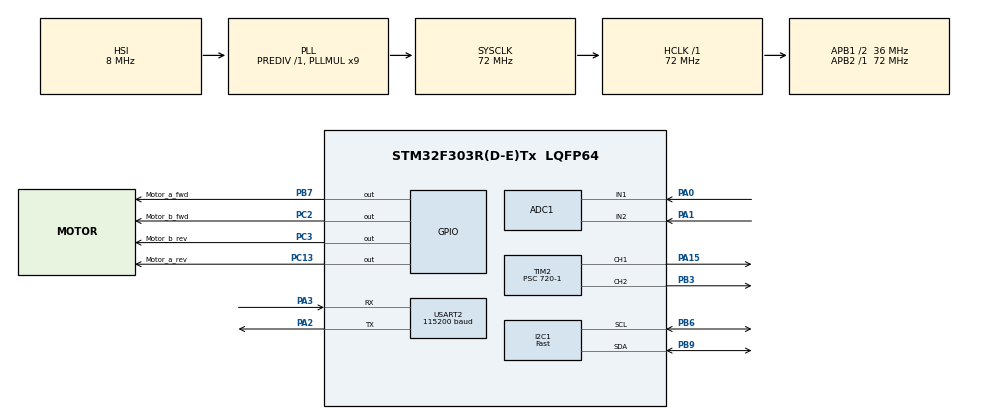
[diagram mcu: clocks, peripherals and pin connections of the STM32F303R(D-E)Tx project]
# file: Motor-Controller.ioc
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ADC1.Channel-0\#ChannelRegularConversion=ADC_CHANNEL_1
ADC1.Channel-1\#ChannelRegularConversion=ADC_CHANNEL_2
ADC1.ClockPrescaler=ADC_CLOCK_ASYNC_DIV1
ADC1.DMAContinuousRequests=ENABLE
ADC1.ExternalTrigConv=ADC_EXTERNALTRIGCONV_T1_TRGO
ADC1.NbrOfConversion=2
ADC1.NbrOfConversionFlag=1
ADC1.Offset-0\#ChannelRegularConversion=0
ADC1.Offset-1\#ChannelRegularConversion=0
ADC1.OffsetNumber-0\#ChannelRegularConversion=ADC_OFFSET_NONE
ADC1.OffsetNumber-1\#ChannelRegularConversion=ADC_OFFSET_NONE
ADC1.Rank-0\#ChannelRegularConversion=1
ADC1.Rank-1\#ChannelRegularConversion=2
ADC1.SamplingTime-0\#ChannelRegularConversion=ADC_SAMPLETIME_1CYCLE_5
ADC1.SamplingTime-1\#ChannelRegularConversion=ADC_SAMPLETIME_1CYCLE_5
ADC1.master=1
Dma.ADC1.0.Direction=DMA_PERIPH_TO_MEMORY
Dma.ADC1.0.Instance=DMA1_Channel1
Dma.ADC1.0.MemDataAlignment=DMA_MDATAALIGN_WORD
Dma.ADC1.0.MemInc=DMA_MINC_ENABLE
Dma.ADC1.0.Mode=DMA_CIRCULAR
Dma.ADC1.0.PeriphDataAlignment=DMA_PDATAALIGN_WORD
Dma.ADC1.0.PeriphInc=DMA_PINC_DISABLE
Dma.ADC1.0.Priority=DMA_PRIORITY_LOW
Dma.Request0=ADC1
I2C1.I2C_Speed_Mode=I2C_Fast
I2C1.Timing=0x0000020B
Mcu.Family=STM32F3
Mcu.Name=STM32F303R(D-E)Tx
Mcu.Package=LQFP64
NVIC.DMA1_Channel1_IRQn=true\:0\:0\:false\:false\:true\:false\:true\:true
NVIC.I2C1_EV_IRQn=true\:0\:0\:false\:false\:true\:true\:true\:true
NVIC.PriorityGroup=NVIC_PRIORITYGROUP_4
NVIC.TIM1_TRG_COM_TIM17_IRQn=true\:0\:0\:false\:false\:true\:true\:true\:true
NVIC.TIM3_IRQn=true\:0\:0\:false\:false\:true\:true\:true\:true
NVIC.USART2_IRQn=true\:0\:0\:false\:false\:true\:true\:true\:true
PA0.Mode=IN1-Single-Ended
PA0.Signal=ADC1_IN1
PA1.Mode=IN2-Single-Ended
PA1.Signal=ADC1_IN2
PA13.Mode=Serial_Wire
PA13.Signal=SYS_JTMS-SWDIO
PA14.Mode=Serial_Wire
PA14.Signal=SYS_JTCK-SWCLK
PA15.Signal=S_TIM2_CH1_ETR
PA2.Mode=Asynchronous
PA2.Signal=USART2_TX
PA3.Mode=Asynchronous
PA3.Signal=USART2_RX
PB3.Signal=S_TIM2_CH2
PB6.GPIO_FM6=SYSCFG_CFGR1_I2C_PB6_FMP
PB6.Mode=I2C
PB6.Signal=I2C1_SCL
PB7.GPIO_Label=Motor_a_fwd
PB7.Signal=GPIO_Output
PB9.GPIO_FM9=SYSCFG_CFGR1_I2C_PB9_FMP
PB9.Mode=I2C
PB9.Signal=I2C1_SDA
PC13.GPIO_Label=Motor_a_rev
PC13.Signal=GPIO_Output
PC2.GPIO_Label=Motor_b_fwd
PC2.Signal=GPIO_Output
PC3.GPIO_Label=Motor_b_rev
PC3.Signal=GPIO_Output
ProjectManager.HeapSize=0x200
ProjectManager.StackSize=0x400
ProjectManager.TargetToolchain=STM32CubeIDE
RCC.AHBFreq_Value=72000000
RCC.APB1CLKDivider=RCC_HCLK_DIV2
RCC.APB1Freq_Value=36000000
RCC.APB1TimFreq_Value=72000000
RCC.APB2Freq_Value=72000000
RCC.APB2TimFreq_Value=72000000
RCC.CortexFreq_Value=72000000
RCC.HCLKFreq_Value=72000000
RCC.HSE_VALUE=8000000
RCC.HSI_VALUE=8000000
RCC.LSE_VALUE=32768
RCC.PLLMUL=RCC_PLL_MUL9
RCC.SYSCLKFreq_VALUE=72000000
RCC.SYSCLKSourceVirtual=RCC_SYSCLKSOURCE_PLLCLK
RCC.USBFreq_Value=72000000
SH.S_TIM2_CH1_ETR.0=TIM2_CH1,PWM Generation1 CH1
SH.S_TIM2_CH2.0=TIM2_CH2,PWM Generation2 CH2
TIM1.Period=100-1
TIM1.Prescaler=72-1
TIM1.TIM_MasterOutputTrigger=TIM_TRGO_UPDATE
TIM2.Channel-PWM\ Generation1\ CH1=TIM_CHANNEL_1
TIM2.Channel-PWM\ Generation2\ CH2=TIM_CHANNEL_2
TIM2.Period=1000-1
TIM2.Prescaler=720-1
TIM3.Period=5000-1
TIM3.Prescaler=720-1
USART2.BaudRate=115200
USART2.Parity=PARITY_EVEN
USART2.VirtualMode-Asynchronous=VM_ASYNC
USART2.WordLength=WORDLENGTH_9B
VP_TIM1_VS_ClockSourceINT.Mode=Internal
VP_TIM2_VS_ClockSourceINT.Mode=Internal
VP_TIM3_VS_ClockSourceINT.Mode=Internal
board=custom

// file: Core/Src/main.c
/* USER CODE BEGIN Header */
/**
 ******************************************************************************
 * @file           : main.c
 * @brief          : Main program body
 ******************************************************************************
 * @attention
 *
 * Copyright (c) 2023 STMicroelectronics.
 * All rights reserved.
 *
 * This software is licensed under terms that can be found in the LICENSE file
 * in the root directory of this software component.
 * If no LICENSE file comes with this software, it is provided AS-IS.
 *
 ******************************************************************************
 */
/* USER CODE END Header */
#include "main.h"

/* USER CODE BEGIN Includes */
#include <stdio.h>
#include <stdlib.h>
#include <string.h>
#include "INA219.h"
/* USER CODE END Includes */

/* USER CODE BEGIN PD */
#define THRESHOLD_OFF 0.2
#define THRESHOLD_FULL 0.90
#define SLIDERS 0
#define UART 1
#define INA_ADR1 0x40
/* USER CODE END PD */

ADC_HandleTypeDef hadc1;
DMA_HandleTypeDef hdma_adc1;

I2C_HandleTypeDef hi2c1;

TIM_HandleTypeDef htim1;
TIM_HandleTypeDef htim2;
TIM_HandleTypeDef htim3;

UART_HandleTypeDef huart2;

/* USER CODE BEGIN PV */
uint8_t UART_RX_Pos = 0;
uint8_t UART_RX_Message[100];
uint8_t UART_RX_Byte[1];
uint8_t UART_RX_Flag = 0;
int UART_RX_Motor_a;
int UART_RX_Motor_b;
volatile uint8_t TIM3_flag = 0;
uint32_t UART_Counter=0;

INA219_t ina219;

int16_t vbus, vshunt, current;
double currentmA;
/* USER CODE END PV */

void SystemClock_Config(void);
static void MX_GPIO_Init(void);
static void MX_DMA_Init(void);
static void MX_ADC1_Init(void);
static void MX_TIM1_Init(void);
static void MX_TIM2_Init(void);
static void MX_USART2_UART_Init(void);
static void MX_TIM3_Init(void);
static void MX_I2C1_Init(void);
/* USER CODE BEGIN PFP */
double clamp(double d, double min, double max);
void num2str(int num, uint8_t *string, int numdigits);
int str2num(uint8_t *string, int numdigits);
void HAL_UART_RxCpltCallback(UART_HandleTypeDef *huart);
void UART_RX_Handler(void);
/* USER CODE END PFP */

int main(void)
{

  /* MCU Configuration--------------------------------------------------------*/

  /* Reset of all peripherals, Initializes the Flash interface and the Systick. */
  HAL_Init();

  /* Configure the system clock */
  SystemClock_Config();

  /* Initialize all configured peripherals */
  MX_GPIO_Init();
  MX_DMA_Init();
  MX_ADC1_Init();
  MX_TIM1_Init();
  MX_TIM2_Init();
  MX_USART2_UART_Init();
  MX_TIM3_Init();
  MX_I2C1_Init();
  /* USER CODE BEGIN 2 */
	uint32_t ADC_Value[2];
	uint8_t txbuffer[200];

	uint8_t input = SLIDERS;
	HAL_UART_Receive_IT(&huart2, UART_RX_Byte, 1);
	HAL_TIM_Base_Start_IT(&htim1);
	HAL_TIM_Base_Start_IT(&htim3);
	HAL_ADC_Start_DMA(&hadc1, ADC_Value, 2); // start adc in DMA mode
	HAL_TIM_PWM_Start(&htim2, TIM_CHANNEL_1);
	HAL_TIM_PWM_Start(&htim2, TIM_CHANNEL_2);

	for (int i = 0; i < 100; i++) {
		txbuffer[i] = (uint8_t) *" ";
	}

	while (!INA219_Init(&ina219, &hi2c1, INA219_ADDRESS)) {

	}

	//INA219_setPowerMode(&ina219, INA219_CONFIG_MODE_ADCOFF);

	vbus = INA219_ReadBusVoltage(&ina219);
	vshunt = INA219_ReadShuntVolage(&ina219);
	current = INA219_ReadCurrent(&ina219);
  /* USER CODE END 2 */

  /* Infinite loop */
  /* USER CODE BEGIN WHILE */
	while (1) {
		double slider1 = (ADC_Value[0] / 2047.0) - 1.0;
		double slider2 = (ADC_Value[1] / 2047.0) - 1.0;

		if (input == SLIDERS) {
			if (slider1 > THRESHOLD_OFF) {
				HAL_GPIO_WritePin(Motor_a_fwd_GPIO_Port, Motor_a_fwd_Pin, 1);
				HAL_GPIO_WritePin(Motor_a_rev_GPIO_Port, Motor_a_rev_Pin, 0);
				TIM2->CCR1 = ((slider1 - THRESHOLD_OFF)
						/ (THRESHOLD_FULL - THRESHOLD_OFF)) * 999.0;
			} else if (slider1 < -THRESHOLD_OFF) {
				HAL_GPIO_WritePin(Motor_a_fwd_GPIO_Port, Motor_a_fwd_Pin, 0);
				HAL_GPIO_WritePin(Motor_a_rev_GPIO_Port, Motor_a_rev_Pin, 1);
				TIM2->CCR1 = ((-slider1 - THRESHOLD_OFF)
						/ (THRESHOLD_FULL - THRESHOLD_OFF)) * 999.0;
			} else {
				HAL_GPIO_WritePin(Motor_a_fwd_GPIO_Port, Motor_a_fwd_Pin, 0);
				HAL_GPIO_WritePin(Motor_a_rev_GPIO_Port, Motor_a_rev_Pin, 0);
				TIM2->CCR1 = 0;
			}

			if (slider2 > THRESHOLD_OFF) {
				HAL_GPIO_WritePin(Motor_b_fwd_GPIO_Port, Motor_b_fwd_Pin, 1);
				HAL_GPIO_WritePin(Motor_b_rev_GPIO_Port, Motor_b_rev_Pin, 0);
				TIM2->CCR2 = ((slider2 - THRESHOLD_OFF)
						/ (THRESHOLD_FULL - THRESHOLD_OFF)) * 999.0;
			} else if (slider2 < -THRESHOLD_OFF) {
				HAL_GPIO_WritePin(Motor_b_fwd_GPIO_Port, Motor_b_fwd_Pin, 0);
				HAL_GPIO_WritePin(Motor_b_rev_GPIO_Port, Motor_b_rev_Pin, 1);
				TIM2->CCR2 = ((-slider2 - THRESHOLD_OFF)
						/ (THRESHOLD_FULL - THRESHOLD_OFF)) * 999.0;
			} else {
				HAL_GPIO_WritePin(Motor_b_fwd_GPIO_Port, Motor_b_fwd_Pin, 0);
				HAL_GPIO_WritePin(Motor_b_rev_GPIO_Port, Motor_b_rev_Pin, 0);
				TIM2->CCR2 = 0;
			}
		} else if (input == UART) {

			if (UART_RX_Motor_a > 0) {
				HAL_GPIO_WritePin(Motor_a_fwd_GPIO_Port, Motor_a_fwd_Pin, 1);
				HAL_GPIO_WritePin(Motor_a_rev_GPIO_Port, Motor_a_rev_Pin, 0);
				TIM2->CCR1 = UART_RX_Motor_a;
			} else if (UART_RX_Motor_a < 0) {
				HAL_GPIO_WritePin(Motor_a_fwd_GPIO_Port, Motor_a_fwd_Pin, 0);
				HAL_GPIO_WritePin(Motor_a_rev_GPIO_Port, Motor_a_rev_Pin, 1);
				TIM2->CCR1 = -UART_RX_Motor_a;
			} else {
				HAL_GPIO_WritePin(Motor_a_fwd_GPIO_Port, Motor_a_fwd_Pin, 0);
				HAL_GPIO_WritePin(Motor_a_rev_GPIO_Port, Motor_a_rev_Pin, 0);
				TIM2->CCR1 = 0;
			}

			if (UART_RX_Motor_b > 0) {
				HAL_GPIO_WritePin(Motor_b_fwd_GPIO_Port, Motor_b_fwd_Pin, 1);
				HAL_GPIO_WritePin(Motor_b_rev_GPIO_Port, Motor_b_rev_Pin, 0);
				TIM2->CCR2 = UART_RX_Motor_b;
			} else if (UART_RX_Motor_b < 0) {
				HAL_GPIO_WritePin(Motor_b_fwd_GPIO_Port, Motor_b_fwd_Pin, 0);
				HAL_GPIO_WritePin(Motor_b_rev_GPIO_Port, Motor_b_rev_Pin, 1);
				TIM2->CCR2 = -UART_RX_Motor_b;
			} else {
				HAL_GPIO_WritePin(Motor_b_fwd_GPIO_Port, Motor_b_fwd_Pin, 0);
				HAL_GPIO_WritePin(Motor_b_rev_GPIO_Port, Motor_b_rev_Pin, 0);
				TIM2->CCR2 = 0;
			}
		}

		if (TIM3_flag == 1) {
			TIM3_flag = 0;
			vbus = INA219_ReadBusVoltage(&ina219);
			vshunt = INA219_ReadShuntVolage(&ina219);
			current = INA219_ReadCurrent(&ina219);
			UART_Counter +=1;
			sprintf((char*) txbuffer, "Duty Cycles: %04d, %04d\n"
					                  "Current:     %05.1f mA, %05.1f mA\n"
									  "Vbus:        %04d, %04d\n"
									  "Vshunt:      %04d, %04d\n", (int) TIM2->CCR1, (int) TIM2->CCR2, currentmA, currentmA, vbus, vbus, vshunt, vshunt);
//			sprintf((char*) txbuffer, "%d,%d\n", (int) UART_Counter, current);
			HAL_UART_Transmit(&huart2, txbuffer, strlen((char*) txbuffer), 50);
		}
		if (UART_RX_Flag == 1) {
			UART_RX_Handler();
		}
    /* USER CODE END WHILE */

	}
}

void SystemClock_Config(void)
{
  RCC_OscInitTypeDef RCC_OscInitStruct = {0};
  RCC_ClkInitTypeDef RCC_ClkInitStruct = {0};
  RCC_PeriphCLKInitTypeDef PeriphClkInit = {0};

  /** Initializes the RCC Oscillators according to the specified parameters
  * in the RCC_OscInitTypeDef structure.
  */
  RCC_OscInitStruct.OscillatorType = RCC_OSCILLATORTYPE_HSI;
  RCC_OscInitStruct.HSIState = RCC_HSI_ON;
  RCC_OscInitStruct.HSICalibrationValue = RCC_HSICALIBRATION_DEFAULT;
  RCC_OscInitStruct.PLL.PLLState = RCC_PLL_ON;
  RCC_OscInitStruct.PLL.PLLSource = RCC_PLLSOURCE_HSI;
  RCC_OscInitStruct.PLL.PLLMUL = RCC_PLL_MUL9;
  RCC_OscInitStruct.PLL.PREDIV = RCC_PREDIV_DIV1;
  if (HAL_RCC_OscConfig(&RCC_OscInitStruct) != HAL_OK)
  {
    Error_Handler();
  }

  /** Initializes the CPU, AHB and APB buses clocks
  */
  RCC_ClkInitStruct.ClockType = RCC_CLOCKTYPE_HCLK|RCC_CLOCKTYPE_SYSCLK
                              |RCC_CLOCKTYPE_PCLK1|RCC_CLOCKTYPE_PCLK2;
  RCC_ClkInitStruct.SYSCLKSource = RCC_SYSCLKSOURCE_PLLCLK;
  RCC_ClkInitStruct.AHBCLKDivider = RCC_SYSCLK_DIV1;
  RCC_ClkInitStruct.APB1CLKDivider = RCC_HCLK_DIV2;
  RCC_ClkInitStruct.APB2CLKDivider = RCC_HCLK_DIV1;

  if (HAL_RCC_ClockConfig(&RCC_ClkInitStruct, FLASH_LATENCY_2) != HAL_OK)
  {
    Error_Handler();
  }
  PeriphClkInit.PeriphClockSelection = RCC_PERIPHCLK_USART2|RCC_PERIPHCLK_I2C1
                              |RCC_PERIPHCLK_TIM1|RCC_PERIPHCLK_ADC12
                              |RCC_PERIPHCLK_TIM2|RCC_PERIPHCLK_TIM34;
  PeriphClkInit.Usart2ClockSelection = RCC_USART2CLKSOURCE_PCLK1;
  PeriphClkInit.Adc12ClockSelection = RCC_ADC12PLLCLK_DIV1;
  PeriphClkInit.I2c1ClockSelection = RCC_I2C1CLKSOURCE_HSI;
  PeriphClkInit.Tim1ClockSelection = RCC_TIM1CLK_HCLK;
  PeriphClkInit.Tim2ClockSelection = RCC_TIM2CLK_HCLK;
  PeriphClkInit.Tim34ClockSelection = RCC_TIM34CLK_HCLK;
  if (HAL_RCCEx_PeriphCLKConfig(&PeriphClkInit) != HAL_OK)
  {
    Error_Handler();
  }
}

static void MX_ADC1_Init(void)
{

  ADC_MultiModeTypeDef multimode = {0};
  ADC_ChannelConfTypeDef sConfig = {0};

  /** Common config
  */
  hadc1.Instance = ADC1;
  hadc1.Init.ClockPrescaler = ADC_CLOCK_ASYNC_DIV1;
  hadc1.Init.Resolution = ADC_RESOLUTION_12B;
  hadc1.Init.ScanConvMode = ADC_SCAN_ENABLE;
  hadc1.Init.ContinuousConvMode = DISABLE;
  hadc1.Init.DiscontinuousConvMode = DISABLE;
  hadc1.Init.ExternalTrigConvEdge = ADC_EXTERNALTRIGCONVEDGE_RISING;
  hadc1.Init.ExternalTrigConv = ADC_EXTERNALTRIGCONV_T1_TRGO;
  hadc1.Init.DataAlign = ADC_DATAALIGN_RIGHT;
  hadc1.Init.NbrOfConversion = 2;
  hadc1.Init.DMAContinuousRequests = ENABLE;
  hadc1.Init.EOCSelection = ADC_EOC_SINGLE_CONV;
  hadc1.Init.LowPowerAutoWait = DISABLE;
  hadc1.Init.Overrun = ADC_OVR_DATA_OVERWRITTEN;
  if (HAL_ADC_Init(&hadc1) != HAL_OK)
  {
    Error_Handler();
  }

  /** Configure the ADC multi-mode
  */
  multimode.Mode = ADC_MODE_INDEPENDENT;
  if (HAL_ADCEx_MultiModeConfigChannel(&hadc1, &multimode) != HAL_OK)
  {
    Error_Handler();
  }

  /** Configure Regular Channel
  */
  sConfig.Channel = ADC_CHANNEL_1;
  sConfig.Rank = ADC_REGULAR_RANK_1;
  sConfig.SingleDiff = ADC_SINGLE_ENDED;
  sConfig.SamplingTime = ADC_SAMPLETIME_1CYCLE_5;
  sConfig.OffsetNumber = ADC_OFFSET_NONE;
  sConfig.Offset = 0;
  if (HAL_ADC_ConfigChannel(&hadc1, &sConfig) != HAL_OK)
  {
    Error_Handler();
  }

  /** Configure Regular Channel
  */
  sConfig.Channel = ADC_CHANNEL_2;
  sConfig.Rank = ADC_REGULAR_RANK_2;
  if (HAL_ADC_ConfigChannel(&hadc1, &sConfig) != HAL_OK)
  {
    Error_Handler();
  }

}

static void MX_I2C1_Init(void)
{

  hi2c1.Instance = I2C1;
  hi2c1.Init.Timing = 0x0000020B;
  hi2c1.Init.OwnAddress1 = 0;
  hi2c1.Init.AddressingMode = I2C_ADDRESSINGMODE_7BIT;
  hi2c1.Init.DualAddressMode = I2C_DUALADDRESS_DISABLE;
  hi2c1.Init.OwnAddress2 = 0;
  hi2c1.Init.OwnAddress2Masks = I2C_OA2_NOMASK;
  hi2c1.Init.GeneralCallMode = I2C_GENERALCALL_DISABLE;
  hi2c1.Init.NoStretchMode = I2C_NOSTRETCH_DISABLE;
  if (HAL_I2C_Init(&hi2c1) != HAL_OK)
  {
    Error_Handler();
  }

  /** Configure Analogue filter
  */
  if (HAL_I2CEx_ConfigAnalogFilter(&hi2c1, I2C_ANALOGFILTER_ENABLE) != HAL_OK)
  {
    Error_Handler();
  }

  /** Configure Digital filter
  */
  if (HAL_I2CEx_ConfigDigitalFilter(&hi2c1, 0) != HAL_OK)
  {
    Error_Handler();
  }

}

static void MX_TIM1_Init(void)
{

  TIM_ClockConfigTypeDef sClockSourceConfig = {0};
  TIM_MasterConfigTypeDef sMasterConfig = {0};

  htim1.Instance = TIM1;
  htim1.Init.Prescaler = 72-1;
  htim1.Init.CounterMode = TIM_COUNTERMODE_UP;
  htim1.Init.Period = 100-1;
  htim1.Init.ClockDivision = TIM_CLOCKDIVISION_DIV1;
  htim1.Init.RepetitionCounter = 0;
  htim1.Init.AutoReloadPreload = TIM_AUTORELOAD_PRELOAD_DISABLE;
  if (HAL_TIM_Base_Init(&htim1) != HAL_OK)
  {
    Error_Handler();
  }
  sClockSourceConfig.ClockSource = TIM_CLOCKSOURCE_INTERNAL;
  if (HAL_TIM_ConfigClockSource(&htim1, &sClockSourceConfig) != HAL_OK)
  {
    Error_Handler();
  }
  sMasterConfig.MasterOutputTrigger = TIM_TRGO_UPDATE;
  sMasterConfig.MasterOutputTrigger2 = TIM_TRGO2_RESET;
  sMasterConfig.MasterSlaveMode = TIM_MASTERSLAVEMODE_DISABLE;
  if (HAL_TIMEx_MasterConfigSynchronization(&htim1, &sMasterConfig) != HAL_OK)
  {
    Error_Handler();
  }

}

static void MX_TIM2_Init(void)
{

  TIM_ClockConfigTypeDef sClockSourceConfig = {0};
  TIM_MasterConfigTypeDef sMasterConfig = {0};
  TIM_OC_InitTypeDef sConfigOC = {0};

  htim2.Instance = TIM2;
  htim2.Init.Prescaler = 720-1;
  htim2.Init.CounterMode = TIM_COUNTERMODE_UP;
  htim2.Init.Period = 1000-1;
  htim2.Init.ClockDivision = TIM_CLOCKDIVISION_DIV1;
  htim2.Init.AutoReloadPreload = TIM_AUTORELOAD_PRELOAD_DISABLE;
  if (HAL_TIM_Base_Init(&htim2) != HAL_OK)
  {
    Error_Handler();
  }
  sClockSourceConfig.ClockSource = TIM_CLOCKSOURCE_INTERNAL;
  if (HAL_TIM_ConfigClockSource(&htim2, &sClockSourceConfig) != HAL_OK)
  {
    Error_Handler();
  }
  if (HAL_TIM_PWM_Init(&htim2) != HAL_OK)
  {
    Error_Handler();
  }
  sMasterConfig.MasterOutputTrigger = TIM_TRGO_RESET;
  sMasterConfig.MasterSlaveMode = TIM_MASTERSLAVEMODE_DISABLE;
  if (HAL_TIMEx_MasterConfigSynchronization(&htim2, &sMasterConfig) != HAL_OK)
  {
    Error_Handler();
  }
  sConfigOC.OCMode = TIM_OCMODE_PWM1;
  sConfigOC.Pulse = 0;
  sConfigOC.OCPolarity = TIM_OCPOLARITY_HIGH;
  sConfigOC.OCFastMode = TIM_OCFAST_DISABLE;
  if (HAL_TIM_PWM_ConfigChannel(&htim2, &sConfigOC, TIM_CHANNEL_1) != HAL_OK)
  {
    Error_Handler();
  }
  if (HAL_TIM_PWM_ConfigChannel(&htim2, &sConfigOC, TIM_CHANNEL_2) != HAL_OK)
  {
    Error_Handler();
  }
  HAL_TIM_MspPostInit(&htim2);

}

static void MX_TIM3_Init(void)
{

  TIM_ClockConfigTypeDef sClockSourceConfig = {0};
  TIM_MasterConfigTypeDef sMasterConfig = {0};

  htim3.Instance = TIM3;
  htim3.Init.Prescaler = 720-1;
  htim3.Init.CounterMode = TIM_COUNTERMODE_UP;
  htim3.Init.Period = 5000-1;
  htim3.Init.ClockDivision = TIM_CLOCKDIVISION_DIV1;
  htim3.Init.AutoReloadPreload = TIM_AUTORELOAD_PRELOAD_DISABLE;
  if (HAL_TIM_Base_Init(&htim3) != HAL_OK)
  {
    Error_Handler();
  }
  sClockSourceConfig.ClockSource = TIM_CLOCKSOURCE_INTERNAL;
  if (HAL_TIM_ConfigClockSource(&htim3, &sClockSourceConfig) != HAL_OK)
  {
    Error_Handler();
  }
  sMasterConfig.MasterOutputTrigger = TIM_TRGO_RESET;
  sMasterConfig.MasterSlaveMode = TIM_MASTERSLAVEMODE_DISABLE;
  if (HAL_TIMEx_MasterConfigSynchronization(&htim3, &sMasterConfig) != HAL_OK)
  {
    Error_Handler();
  }

}

static void MX_USART2_UART_Init(void)
{

  huart2.Instance = USART2;
  huart2.Init.BaudRate = 115200;
  huart2.Init.WordLength = UART_WORDLENGTH_9B;
  huart2.Init.StopBits = UART_STOPBITS_1;
  huart2.Init.Parity = UART_PARITY_EVEN;
  huart2.Init.Mode = UART_MODE_TX_RX;
  huart2.Init.HwFlowCtl = UART_HWCONTROL_NONE;
  huart2.Init.OverSampling = UART_OVERSAMPLING_16;
  huart2.Init.OneBitSampling = UART_ONE_BIT_SAMPLE_DISABLE;
  huart2.AdvancedInit.AdvFeatureInit = UART_ADVFEATURE_NO_INIT;
  if (HAL_UART_Init(&huart2) != HAL_OK)
  {
    Error_Handler();
  }

}

static void MX_DMA_Init(void)
{

  /* DMA controller clock enable */
  __HAL_RCC_DMA1_CLK_ENABLE();

  /* DMA interrupt init */
  /* DMA1_Channel1_IRQn interrupt configuration */
  HAL_NVIC_SetPriority(DMA1_Channel1_IRQn, 0, 0);
  HAL_NVIC_EnableIRQ(DMA1_Channel1_IRQn);

}

static void MX_GPIO_Init(void)
{
  GPIO_InitTypeDef GPIO_InitStruct = {0};

  /* GPIO Ports Clock Enable */
  __HAL_RCC_GPIOC_CLK_ENABLE();
  __HAL_RCC_GPIOA_CLK_ENABLE();
  __HAL_RCC_GPIOB_CLK_ENABLE();

  /*Configure GPIO pin Output Level */
  HAL_GPIO_WritePin(GPIOC, Motor_a_rev_Pin|Motor_b_fwd_Pin|Motor_b_rev_Pin, GPIO_PIN_RESET);

  /*Configure GPIO pin Output Level */
  HAL_GPIO_WritePin(Motor_a_fwd_GPIO_Port, Motor_a_fwd_Pin, GPIO_PIN_RESET);

  /*Configure GPIO pins : Motor_a_rev_Pin Motor_b_fwd_Pin Motor_b_rev_Pin */
  GPIO_InitStruct.Pin = Motor_a_rev_Pin|Motor_b_fwd_Pin|Motor_b_rev_Pin;
  GPIO_InitStruct.Mode = GPIO_MODE_OUTPUT_PP;
  GPIO_InitStruct.Pull = GPIO_NOPULL;
  GPIO_InitStruct.Speed = GPIO_SPEED_FREQ_LOW;
  HAL_GPIO_Init(GPIOC, &GPIO_InitStruct);

  /*Configure GPIO pin : Motor_a_fwd_Pin */
  GPIO_InitStruct.Pin = Motor_a_fwd_Pin;
  GPIO_InitStruct.Mode = GPIO_MODE_OUTPUT_PP;
  GPIO_InitStruct.Pull = GPIO_NOPULL;
  GPIO_InitStruct.Speed = GPIO_SPEED_FREQ_LOW;
  HAL_GPIO_Init(Motor_a_fwd_GPIO_Port, &GPIO_InitStruct);

}

/* USER CODE BEGIN 4 */
double clamp(double d, double min, double max) {
	const double t = d < min ? min : d;
	return t > max ? max : t;
}

void num2str(int num, uint8_t *string, int numdigits) {
	int unit = 1;
	for (int i = 0; i < numdigits; i++) {
		string[numdigits - i - 1] = (num / unit) % 10 + 48;
		unit = unit * 10;
	}
}
int str2num(uint8_t *string, int numdigits) {
	int unit = 1;
	int num = 0;
	for (int i = 0; i < numdigits; i++) {
		num = num + (string[numdigits - i - 1] - 48) * unit;
		unit = unit * 10;
	}
	return num;
}
void HAL_UART_RxCpltCallback(UART_HandleTypeDef *huart) {
	UART_RX_Flag = 1;
	HAL_UART_Receive_IT(&huart2, UART_RX_Byte, 1);
}
void UART_RX_Handler(void) {
	UART_RX_Flag = 0;
	UART_RX_Message[UART_RX_Pos] = UART_RX_Byte[0];
	UART_RX_Pos += 1;
	if (UART_RX_Byte[0] == (uint8_t) *"\n") {
		if (UART_RX_Message[0] == (uint8_t) *"+") {
			UART_RX_Motor_a = str2num(&UART_RX_Message[1], 3);
		} else if (UART_RX_Message[0] == (uint8_t) *"-") {
			UART_RX_Motor_a = -str2num(&UART_RX_Message[1], 3);
		}
		if (UART_RX_Message[5] == (uint8_t) *"+") {
			UART_RX_Motor_b = str2num(&UART_RX_Message[6], 3);
		} else if (UART_RX_Message[5] == (uint8_t) *"-") {
			UART_RX_Motor_b = -str2num(&UART_RX_Message[6], 3);
		}
		if (UART_RX_Message[10] == (uint8_t) *"P") {
			TIM2->PSC = str2num(&UART_RX_Message[11], 3) - 1;
		}
		UART_RX_Pos = 0;
	}
}
/* USER CODE END 4 */

void Error_Handler(void)
{
	__disable_irq();
	while (1) {
	}
}
